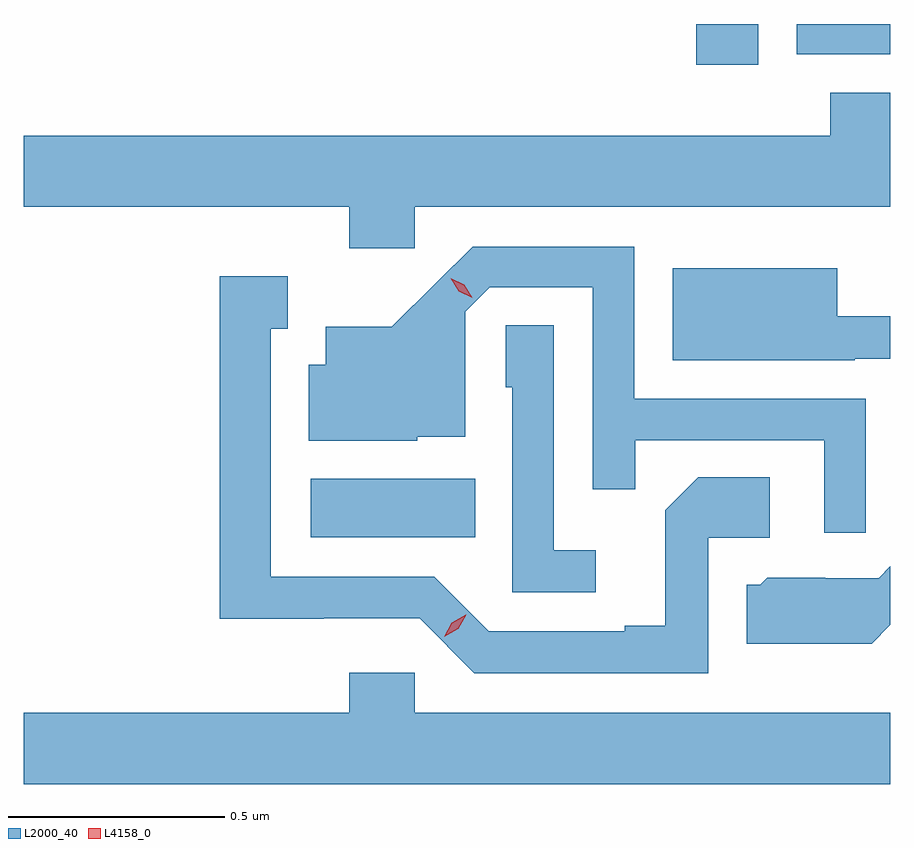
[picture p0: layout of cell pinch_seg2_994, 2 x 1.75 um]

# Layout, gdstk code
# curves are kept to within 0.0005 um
import gdstk
lib = gdstk.Library(unit=1e-6, precision=1e-09)
def R(c, l, rs):  # rectangles x0, y0, x1, y1
    for r in rs: c.add(gdstk.rectangle(r[:2], r[2:], *l))
def P(c, l, *ps):  # polygons
    for p in ps: c.add(gdstk.Polygon(p, *l))
L2000_40 = (2000, 40)
L4158_0 = (4158, 0)

pinch_seg2_994 = lib.new_cell('pinch_seg2_994')
R(pinch_seg2_994, L2000_40, [(338.73,625.562,339.11,625.696), (339.62,626.652,339.763,626.746), (339.852,626.676,340.068,626.746)])
P(pinch_seg2_994, L2000_40, [(338.97,626.324),(340.068,626.324),(340.068,626.587),(339.929,626.587),(339.929,626.488),(338.068,626.488),(338.068,626.324),(338.819,626.324),(338.819,626.229),(338.97,626.229)],
  [(340.011,625.881),(339.477,625.881),(339.477,626.232),(339.104,626.232),(338.917,626.047),(338.765,626.047),(338.765,625.96),(338.726,625.96),(338.726,625.784),(338.976,625.784),(338.976,625.793),(339.087,625.793),(339.087,626.082),(339.144,626.139),(339.381,626.139),(339.381,625.672),(339.479,625.672),(339.479,625.785),(339.915,625.785),(339.915,625.572),(340.011,625.572)],
  [(339.986,625.974),(340.068,625.974),(340.068,626.071),(339.946,626.071),(339.946,626.182),(339.566,626.182),(339.566,625.97),(339.986,625.97)],
  [(339.648,625.56),(339.79,625.56),(339.79,625.7),(339.625,625.7),(339.549,625.624),(339.549,625.357),(339.455,625.357),(339.455,625.344),(339.141,625.344),(339.015,625.47),(338.638,625.47),(338.638,626.043),(338.677,626.043),(338.677,626.164),(338.52,626.164),(338.52,625.373),(338.76,625.373),(338.76,625.374),(338.982,625.374),(339.108,625.248),(339.648,625.248)],
  [(339.388,625.531),(339.291,625.531),(339.291,626.051),(339.18,626.051),(339.18,625.908),(339.195,625.908),(339.195,625.434),(339.388,625.434)],
  [(340.068,625.36),(340.068,625.494),(340.041,625.467),(339.918,625.467),(339.918,625.468),(339.784,625.468),(339.768,625.452),(339.737,625.452),(339.737,625.316),(340.025,625.316)],
  [(340.068,625.156),(338.97,625.156),(338.97,625.249),(338.819,625.249),(338.819,625.156),(338.068,625.156),(338.068,624.992),(340.068,624.992)])
P(pinch_seg2_994, L4158_0, [(339.103,626.114),(339.072,626.129),(339.054,626.159),(339.054,626.159),(339.054,626.159),(339.085,626.144),(339.103,626.114),(339.103,626.114)],
  [(339.038,625.332),(339.038,625.332),(339.056,625.364),(339.088,625.383),(339.089,625.383),(339.089,625.383),(339.071,625.35),(339.039,625.332)])

lib.write_gds('pinch_seg2_994.gds')
